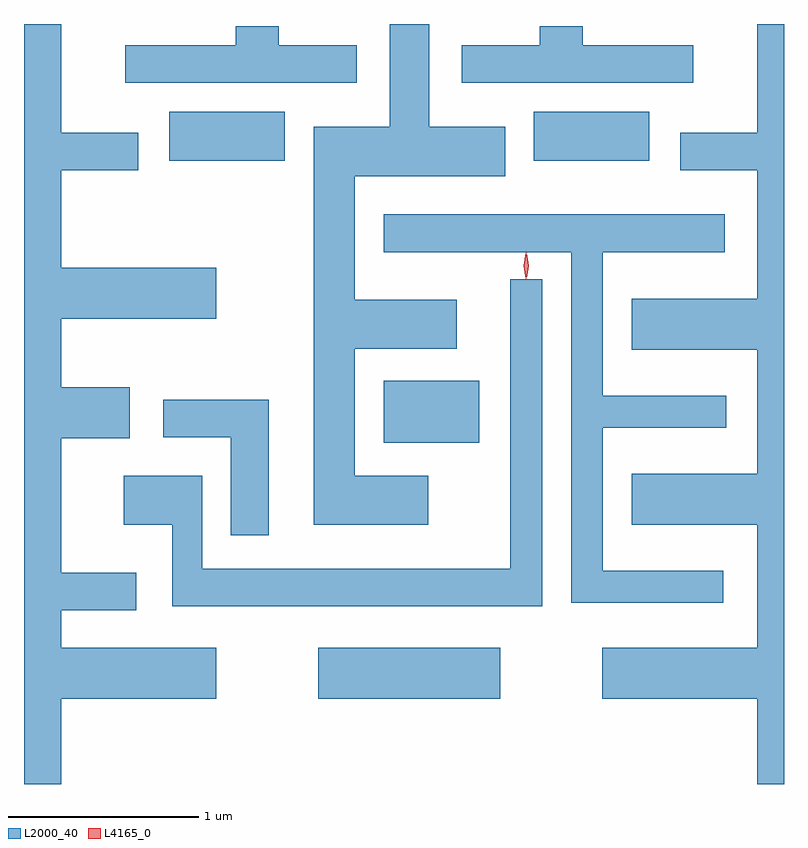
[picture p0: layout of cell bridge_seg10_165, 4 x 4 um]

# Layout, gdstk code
import gdstk
lib = gdstk.Library(unit=1e-6, precision=1e-09)
def R(c, l, rs):  # rectangles x0, y0, x1, y1
    for r in rs: c.add(gdstk.rectangle(r[:2], r[2:], *l))
def P(c, l, *ps):  # polygons
    for p in ps: c.add(gdstk.Polygon(p, *l))
L2000_40 = (2000, 40)
L4165_0 = (4165, 0)

bridge_seg10_165 = lib.new_cell('bridge_seg10_165')
R(bridge_seg10_165, L2000_40, [(1840.101,2139.966,1841.059,2140.234), (1840.446,2141.311,1840.949,2141.639), (1839.316,2142.796,1839.924,2143.054), (1841.236,2142.796,1841.844,2143.054)])
P(bridge_seg10_165, L2000_40, [(1840.679,2141.139),(1840.294,2141.139),(1840.294,2141.806),(1840.829,2141.806),(1840.829,2142.064),(1840.294,2142.064),(1840.294,2142.716),(1841.084,2142.716),(1841.084,2142.974),(1840.684,2142.974),(1840.684,2143.516),(1840.476,2143.516),(1840.476,2142.974),(1840.076,2142.974),(1840.076,2140.881),(1840.679,2140.881)],
  [(1842.552,2143.516),(1842.411,2143.516),(1842.411,2142.944),(1842.006,2142.944),(1842.006,2142.746),(1842.411,2142.746),(1842.411,2142.069),(1841.751,2142.069),(1841.751,2141.801),(1842.411,2141.801),(1842.411,2141.149),(1841.751,2141.149),(1841.751,2140.881),(1842.411,2140.881),(1842.411,2140.234),(1841.596,2140.234),(1841.596,2139.966),(1842.411,2139.966),(1842.411,2139.516),(1842.552,2139.516)],
  [(1842.074,2143.404),(1841.494,2143.404),(1841.494,2143.504),(1841.266,2143.504),(1841.266,2143.404),(1840.856,2143.404),(1840.856,2143.206),(1842.074,2143.206)],
  [(1840.304,2143.404),(1839.894,2143.404),(1839.894,2143.504),(1839.666,2143.504),(1839.666,2143.404),(1839.086,2143.404),(1839.086,2143.206),(1840.304,2143.206)],
  [(1842.233,2140.639),(1841.599,2140.639),(1841.599,2141.391),(1842.248,2141.391),(1842.248,2141.559),(1841.599,2141.559),(1841.599,2142.316),(1842.239,2142.316),(1842.239,2142.514),(1840.446,2142.514),(1840.446,2142.316),(1841.431,2142.316),(1841.431,2140.471),(1842.233,2140.471)],
  [(1841.279,2142.173),(1841.111,2142.173),(1841.111,2140.649),(1839.489,2140.649),(1839.489,2141.139),(1839.076,2141.139),(1839.076,2140.881),(1839.331,2140.881),(1839.331,2140.451),(1841.279,2140.451)],
  [(1839.839,2141.539),(1839.286,2141.539),(1839.286,2141.341),(1839.641,2141.341),(1839.641,2140.826),(1839.839,2140.826)],
  [(1838.749,2140.431),(1839.144,2140.431),(1839.144,2140.629),(1838.749,2140.629),(1838.749,2141.336),(1839.109,2141.336),(1839.109,2141.604),(1838.749,2141.604),(1838.749,2141.966),(1839.564,2141.966),(1839.564,2142.234),(1838.749,2142.234),(1838.749,2142.746),(1839.154,2142.746),(1839.154,2142.944),(1838.749,2142.944),(1838.749,2143.516),(1838.552,2143.516),(1838.552,2139.516),(1838.749,2139.516),(1838.749,2139.966),(1839.564,2139.966),(1839.564,2140.234),(1838.749,2140.234)])
P(bridge_seg10_165, L4165_0, [(1841.192,2142.174),(1841.192,2142.175),(1841.182,2142.244),(1841.192,2142.313),(1841.192,2142.314),(1841.193,2142.313),(1841.202,2142.244),(1841.193,2142.175)],
  [(1841.197,2142.178),(1841.188,2142.244),(1841.198,2142.31),(1841.198,2142.311),(1841.199,2142.31),(1841.208,2142.244),(1841.198,2142.178),(1841.198,2142.178)])

lib.write_gds('bridge_seg10_165.gds')
